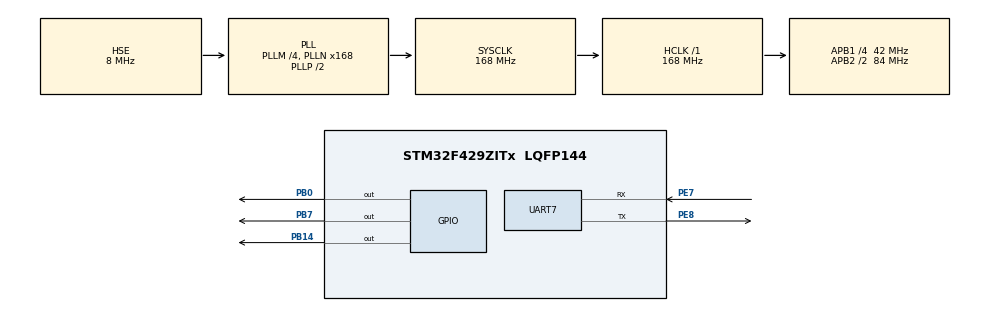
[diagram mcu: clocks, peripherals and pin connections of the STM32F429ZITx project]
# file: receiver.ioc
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Mcu.Family=STM32F4
Mcu.Name=STM32F429ZITx
Mcu.Package=LQFP144
NVIC.PriorityGroup=NVIC_PRIORITYGROUP_4
PB0.Signal=GPIO_Output
PB14.Signal=GPIO_Output
PB7.Signal=GPIO_Output
PC14/OSC32_IN.Mode=LSE-External-Oscillator
PC14/OSC32_IN.Signal=RCC_OSC32_IN
PC15/OSC32_OUT.Mode=LSE-External-Oscillator
PC15/OSC32_OUT.Signal=RCC_OSC32_OUT
PE7.Mode=Asynchronous
PE7.Signal=UART7_RX
PE8.Mode=Asynchronous
PE8.Signal=UART7_TX
PH0/OSC_IN.Mode=HSE-External-Oscillator
PH0/OSC_IN.Signal=RCC_OSC_IN
PH1/OSC_OUT.Mode=HSE-External-Oscillator
PH1/OSC_OUT.Signal=RCC_OSC_OUT
ProjectManager.HeapSize=0x200
ProjectManager.StackSize=0x400
ProjectManager.TargetToolchain=STM32CubeIDE
RCC.48MHZClocksFreq_Value=48000000
RCC.AHBFreq_Value=168000000
RCC.APB1CLKDivider=RCC_HCLK_DIV4
RCC.APB1Freq_Value=42000000
RCC.APB1TimFreq_Value=84000000
RCC.APB2CLKDivider=RCC_HCLK_DIV2
RCC.APB2Freq_Value=84000000
RCC.APB2TimCLKDivider=2
RCC.APB2TimFreq_Value=168000000
RCC.CortexFreq_Value=168000000
RCC.HCLKFreq_Value=168000000
RCC.HSE_VALUE=8000000
RCC.HSI_VALUE=16000000
RCC.PLLM=4
RCC.PLLMUL=RCC_PLL_MUL9
RCC.PLLN=168
RCC.PLLQ=7
RCC.PLLSourceVirtual=RCC_PLLSOURCE_HSE
RCC.PRESCALERUSB=RCC_USBCLKSOURCE_PLL_DIV1_5
RCC.SYSCLKFreq_VALUE=168000000
RCC.SYSCLKSource=RCC_SYSCLKSOURCE_PLLCLK
RCC.SYSCLKSourceVirtual=RCC_SYSCLKSOURCE_PLLCLK
RCC.USBFreq_Value=48000000
RCC.VCOOutputFreq_Value=336000000
UART7.VirtualMode=Asynchronous
board=NUCLEO-F429ZI

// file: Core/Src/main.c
/* USER CODE BEGIN Header */
/**
  ******************************************************************************
  * @file           : main.c
  * @brief          : Main program body
  ******************************************************************************
  * @attention
  *
  * Copyright (c) 2024 STMicroelectronics.
  * All rights reserved.
  *
  * This software is licensed under terms that can be found in the LICENSE file
  * in the root directory of this software component.
  * If no LICENSE file comes with this software, it is provided AS-IS.
  *
  ******************************************************************************
  */
/* USER CODE END Header */
#include "main.h"

/* USER CODE BEGIN Includes */
#include <stdio.h>
#include <string.h>
/* USER CODE END Includes */

/* USER CODE BEGIN PD */
#define RX_BUFFER_SIZE 2400
/* USER CODE END PD */

UART_HandleTypeDef huart7;

/* USER CODE BEGIN PV */
/*Axes_Data RxBuffer;
uint16_t RxIndex = 0;
Axes_Data accData; // Buffer to store 16-bit accelerometer data*/
uint8_t RxBuffer[RX_BUFFER_SIZE];
uint16_t RxIndex = 0;
int16_t AccData[RX_BUFFER_SIZE / 2]; // Buffer to store 16-bit accelerometer data

uint8_t rxdata[6] = {0};
uint8_t deneme[6];
/* USER CODE END PV */

void SystemClock_Config(void);
static void MX_GPIO_Init(void);
static void MX_UART7_Init(void);

int main(void)
{

  /* MCU Configuration--------------------------------------------------------*/

  /* Reset of all peripherals, Initializes the Flash interface and the Systick. */
  HAL_Init();

  /* Configure the system clock */
  SystemClock_Config();

  /* Initialize all configured peripherals */
  MX_GPIO_Init();
  MX_UART7_Init();

  /* Infinite loop */
  while (1)
  {

    /* USER CODE BEGIN 3 */
	  if (HAL_UART_Receive(&huart7, rxdata, sizeof (rxdata), 100) == HAL_OK) {

		  int16_t X = (int16_t)((rxdata[0] << 8) | rxdata[1]);
		  int16_t Y = (int16_t)((rxdata[2] << 8) | rxdata[3]);
		  int16_t Z = (int16_t)((rxdata[4] << 8) | rxdata[5]);

		  if (X > 200) HAL_GPIO_WritePin(GPIOB, GPIO_PIN_14, GPIO_PIN_SET);
		  else HAL_GPIO_WritePin(GPIOB, GPIO_PIN_14, GPIO_PIN_RESET);

		  if (X < -200) HAL_GPIO_WritePin(GPIOB, GPIO_PIN_0, GPIO_PIN_SET);
		  else HAL_GPIO_WritePin(GPIOB, GPIO_PIN_0, GPIO_PIN_RESET);
	 }
  }
  /* USER CODE END 3 */
}

void SystemClock_Config(void)
{
  RCC_OscInitTypeDef RCC_OscInitStruct = {0};
  RCC_ClkInitTypeDef RCC_ClkInitStruct = {0};

  /** Configure the main internal regulator output voltage
  */
  __HAL_RCC_PWR_CLK_ENABLE();
  __HAL_PWR_VOLTAGESCALING_CONFIG(PWR_REGULATOR_VOLTAGE_SCALE1);

  /** Initializes the RCC Oscillators according to the specified parameters
  * in the RCC_OscInitTypeDef structure.
  */
  RCC_OscInitStruct.OscillatorType = RCC_OSCILLATORTYPE_HSE;
  RCC_OscInitStruct.HSEState = RCC_HSE_ON;
  RCC_OscInitStruct.PLL.PLLState = RCC_PLL_ON;
  RCC_OscInitStruct.PLL.PLLSource = RCC_PLLSOURCE_HSE;
  RCC_OscInitStruct.PLL.PLLM = 4;
  RCC_OscInitStruct.PLL.PLLN = 168;
  RCC_OscInitStruct.PLL.PLLP = RCC_PLLP_DIV2;
  RCC_OscInitStruct.PLL.PLLQ = 7;
  if (HAL_RCC_OscConfig(&RCC_OscInitStruct) != HAL_OK)
  {
    Error_Handler();
  }

  /** Initializes the CPU, AHB and APB buses clocks
  */
  RCC_ClkInitStruct.ClockType = RCC_CLOCKTYPE_HCLK|RCC_CLOCKTYPE_SYSCLK
                              |RCC_CLOCKTYPE_PCLK1|RCC_CLOCKTYPE_PCLK2;
  RCC_ClkInitStruct.SYSCLKSource = RCC_SYSCLKSOURCE_PLLCLK;
  RCC_ClkInitStruct.AHBCLKDivider = RCC_SYSCLK_DIV1;
  RCC_ClkInitStruct.APB1CLKDivider = RCC_HCLK_DIV4;
  RCC_ClkInitStruct.APB2CLKDivider = RCC_HCLK_DIV2;

  if (HAL_RCC_ClockConfig(&RCC_ClkInitStruct, FLASH_LATENCY_5) != HAL_OK)
  {
    Error_Handler();
  }
}

static void MX_UART7_Init(void)
{

  huart7.Instance = UART7;
  huart7.Init.BaudRate = 115200;
  huart7.Init.WordLength = UART_WORDLENGTH_8B;
  huart7.Init.StopBits = UART_STOPBITS_1;
  huart7.Init.Parity = UART_PARITY_NONE;
  huart7.Init.Mode = UART_MODE_TX_RX;
  huart7.Init.HwFlowCtl = UART_HWCONTROL_NONE;
  huart7.Init.OverSampling = UART_OVERSAMPLING_16;
  if (HAL_UART_Init(&huart7) != HAL_OK)
  {
    Error_Handler();
  }

}

static void MX_GPIO_Init(void)
{
  GPIO_InitTypeDef GPIO_InitStruct = {0};

  /* GPIO Ports Clock Enable */
  __HAL_RCC_GPIOC_CLK_ENABLE();
  __HAL_RCC_GPIOH_CLK_ENABLE();
  __HAL_RCC_GPIOB_CLK_ENABLE();
  __HAL_RCC_GPIOE_CLK_ENABLE();

  /*Configure GPIO pin Output Level */
  HAL_GPIO_WritePin(GPIOB, GPIO_PIN_0|GPIO_PIN_14|GPIO_PIN_7, GPIO_PIN_RESET);

  /*Configure GPIO pins : PB0 PB14 PB7 */
  GPIO_InitStruct.Pin = GPIO_PIN_0|GPIO_PIN_14|GPIO_PIN_7;
  GPIO_InitStruct.Mode = GPIO_MODE_OUTPUT_PP;
  GPIO_InitStruct.Pull = GPIO_NOPULL;
  GPIO_InitStruct.Speed = GPIO_SPEED_FREQ_LOW;
  HAL_GPIO_Init(GPIOB, &GPIO_InitStruct);

}

void Error_Handler(void)
{
  /* USER CODE BEGIN Error_Handler_Debug */
  /* User can add his own implementation to report the HAL error return state */
  __disable_irq();
  while (1)
  {
	  HAL_GPIO_WritePin(GPIOB, GPIO_PIN_14, GPIO_PIN_SET);
	  HAL_Delay(250);
	  HAL_GPIO_WritePin(GPIOB, GPIO_PIN_14, GPIO_PIN_RESET);
	  HAL_Delay(250);
  }
  /* USER CODE END Error_Handler_Debug */
}
